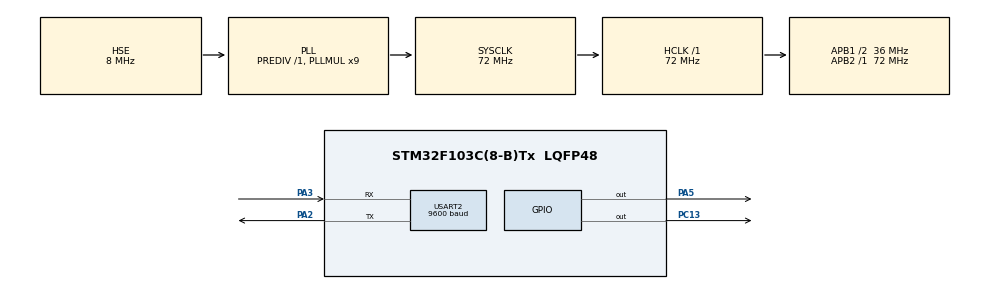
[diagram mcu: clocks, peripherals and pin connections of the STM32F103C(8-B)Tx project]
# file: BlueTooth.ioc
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Mcu.Family=STM32F1
Mcu.Name=STM32F103C(8-B)Tx
Mcu.Package=LQFP48
NVIC.PriorityGroup=NVIC_PRIORITYGROUP_4
NVIC.TIM2_IRQn=true\:0\:0\:false\:false\:true\:true\:true
NVIC.TIM4_IRQn=true\:0\:0\:false\:false\:true\:false\:true
NVIC.TimeBase=TIM4_IRQn
NVIC.TimeBaseIP=TIM4
NVIC.USART2_IRQn=true\:0\:0\:false\:false\:true\:true\:true
PA13.Mode=Trace_Asynchronous_SW
PA13.Signal=SYS_JTMS-SWDIO
PA14.Mode=Trace_Asynchronous_SW
PA14.Signal=SYS_JTCK-SWCLK
PA2.Mode=Asynchronous
PA2.Signal=USART2_TX
PA3.Mode=Asynchronous
PA3.Signal=USART2_RX
PA5.GPIO_Speed=GPIO_SPEED_FREQ_MEDIUM
PA5.Signal=GPIO_Output
PB3.Mode=Trace_Asynchronous_SW
PB3.Signal=SYS_JTDO-TRACESWO
PC13-TAMPER-RTC.Signal=GPIO_Output
PD0-OSC_IN.Mode=HSE-External-Oscillator
PD0-OSC_IN.Signal=RCC_OSC_IN
PD1-OSC_OUT.Mode=HSE-External-Oscillator
PD1-OSC_OUT.Signal=RCC_OSC_OUT
ProjectManager.HeapSize=0x200
ProjectManager.StackSize=0x400
ProjectManager.TargetToolchain=STM32CubeIDE
RCC.AHBFreq_Value=72000000
RCC.APB1CLKDivider=RCC_HCLK_DIV2
RCC.APB1Freq_Value=36000000
RCC.APB1TimFreq_Value=72000000
RCC.APB2Freq_Value=72000000
RCC.APB2TimFreq_Value=72000000
RCC.HCLKFreq_Value=72000000
RCC.PLLMUL=RCC_PLL_MUL9
RCC.PLLSourceVirtual=RCC_PLLSOURCE_HSE
RCC.SYSCLKFreq_VALUE=72000000
RCC.SYSCLKSource=RCC_SYSCLKSOURCE_PLLCLK
RCC.USBFreq_Value=72000000
TIM2.Period=4000
TIM2.Prescaler=35999
TIM2.TIM_MasterOutputTrigger=TIM_TRGO_UPDATE
USART2.BaudRate=9600
USART2.VirtualMode=VM_ASYNC
VP_SYS_VS_tim4.Mode=TIM4
VP_TIM2_VS_ClockSourceINT.Mode=Internal
board=custom

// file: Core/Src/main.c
/* USER CODE BEGIN Header */
/**
 ******************************************************************************
 * @file           : main.c
 * @brief          : Main program body
 ******************************************************************************
 * @attention
 *
 * <h2><center>&copy; Copyright (c) 2021 STMicroelectronics.
 * All rights reserved.</center></h2>
 *
 * This software component is licensed by ST under BSD 3-Clause license,
 * the "License"; You may not use this file except in compliance with the
 * License. You may obtain a copy of the License at:
 *                        opensource.org/licenses/BSD-3-Clause
 *
 ******************************************************************************
 */
/* USER CODE END Header */
#include "main.h"

/* USER CODE BEGIN Includes */
#include <string.h> // Подключим библиотеку для работы со строками.
#include <stdio.h> /* для printf */
/* USER CODE END Includes */

TIM_HandleTypeDef htim2;

UART_HandleTypeDef huart2;

/* USER CODE BEGIN PV */
char str1[60] = { 0 };  // Создадим строковую переменную

typedef struct USART_prop { // Создадим структуру
	uint8_t usart_buf[60];
	uint8_t usart_cnt;
	uint8_t is_tcp_connect; //статус попытки создать соединение TCP с сервером
	uint8_t is_text; //статус попытки передать текст серверу
} USART_prop_ptr;
USART_prop_ptr usartprop;
//***Добавим гл. переменную для счётчика выводимых в модуль строк, и массив этих самых строк ***//
uint8_t i = 0;
char *str2[] = {
 "String1\r\n",
 "String2\r\n",
 "String3\r\n",
 "String4\r\n",
 "String5\r\n"
};
/* USER CODE END PV */

void SystemClock_Config(void);
static void MX_GPIO_Init(void);
static void MX_USART2_UART_Init(void);
static void MX_TIM2_Init(void);

/* USER CODE BEGIN 0 */
/*-----------------------------for prinf--------------------------------------*/
int _write(int file, uint8_t *ptr, int len) {
  for (int DataIdx = 0; DataIdx < len; DataIdx++) {
    ITM_SendChar(*ptr++);
  }
  return len;
}
/*---------Добавим гл. фун-ю которая передает в USAR все, что приходит!--------*/
void string_parse(char *buf_str) //
{
	HAL_UART_Transmit(&huart2, (uint8_t*) buf_str, strlen(buf_str), 0x1000);
	printf("Get message: %s \n",buf_str);
}
/*------------Теперь добавим гл-й обработчик приёма символа из USART---------------------------------------------*/
void UART2_RxCpltCallback(void) // тут подробно https://youtu.be/S4P-lAa4iFQ?t=547
{
	uint8_t b; // Можно не создавать эту переменную!
	b = str1[0];// Принимаем один байт и записываем в переменную "b".
	//если вдруг случайно превысим длину буфера
	if (usartprop.usart_cnt > 59) {
		usartprop.usart_cnt = 0; // то, обнуляем счетчик
		HAL_UART_Receive_IT(&huart2, (uint8_t*) str1, 1); // И снова даем команду получать данные из UART.
		return; // Выход из функции.
	}
	usartprop.usart_buf[usartprop.usart_cnt] = b; // Если не превышена длинна буфера то присваевыем данный байт к буферу UART.
	if (b == 0x0A) { // Если встретился символ перевода строки то, считаем, что строка закончилась и передаем ее на обработку.
		usartprop.usart_buf[usartprop.usart_cnt + 1] = 0; // В конец строки передаем "ноль" тем самым обозначим конец строки.
		string_parse((char*) usartprop.usart_buf); // передаем троку в "string_parse"
		usartprop.usart_cnt = 0; // Обнуляем счетчик
		HAL_UART_Receive_IT(&huart2, (uint8_t*) str1, 1); // И снова запускаем UART на прием.
		return;
	}
	usartprop.usart_cnt++; // Если не получили символ перевода строки то, наращиваем счетчик и продолжаем получать строки.
	HAL_UART_Receive_IT(&huart2, (uint8_t*) str1, 1); // Снова команда на примем байта.
}
/* USER CODE END 0 */

int main(void) {

	/* MCU Configuration--------------------------------------------------------*/

	/* Reset of all peripherals, Initializes the Flash interface and the Systick. */
	HAL_Init();

	/* Configure the system clock */
	SystemClock_Config();

	/* Initialize all configured peripherals */
	MX_GPIO_Init();
	MX_USART2_UART_Init();
	MX_TIM2_Init();
	/* USER CODE BEGIN 2 */
	//************* Инициируем приём данных в USART, а также запустим наш таймер ***************//
	HAL_UART_Receive_IT(&huart2, (uint8_t*) str1, 1);
	HAL_TIM_Base_Start_IT(&htim2);
	/* USER CODE END 2 */

	/* Infinite loop */
	while (1) {
//************* Отпавляем данные на телефон ***************//
		HAL_GPIO_TogglePin(GPIOC, GPIO_PIN_13); // Морагаем светодиодом
		HAL_UART_Transmit(&huart2, (uint8_t*) str2[i], strlen(str2[i]), 0x1000);
		i++;
		if (i > 4) {
			i = 0;
		}
		HAL_Delay(1000);
	}
}

void SystemClock_Config(void) {
	RCC_OscInitTypeDef RCC_OscInitStruct = { 0 };
	RCC_ClkInitTypeDef RCC_ClkInitStruct = { 0 };

	/** Initializes the RCC Oscillators according to the specified parameters
	 * in the RCC_OscInitTypeDef structure.
	 */
	RCC_OscInitStruct.OscillatorType = RCC_OSCILLATORTYPE_HSE;
	RCC_OscInitStruct.HSEState = RCC_HSE_ON;
	RCC_OscInitStruct.HSEPredivValue = RCC_HSE_PREDIV_DIV1;
	RCC_OscInitStruct.HSIState = RCC_HSI_ON;
	RCC_OscInitStruct.PLL.PLLState = RCC_PLL_ON;
	RCC_OscInitStruct.PLL.PLLSource = RCC_PLLSOURCE_HSE;
	RCC_OscInitStruct.PLL.PLLMUL = RCC_PLL_MUL9;
	if (HAL_RCC_OscConfig(&RCC_OscInitStruct) != HAL_OK) {
		Error_Handler();
	}
	/** Initializes the CPU, AHB and APB buses clocks
	 */
	RCC_ClkInitStruct.ClockType = RCC_CLOCKTYPE_HCLK | RCC_CLOCKTYPE_SYSCLK
			| RCC_CLOCKTYPE_PCLK1 | RCC_CLOCKTYPE_PCLK2;
	RCC_ClkInitStruct.SYSCLKSource = RCC_SYSCLKSOURCE_PLLCLK;
	RCC_ClkInitStruct.AHBCLKDivider = RCC_SYSCLK_DIV1;
	RCC_ClkInitStruct.APB1CLKDivider = RCC_HCLK_DIV2;
	RCC_ClkInitStruct.APB2CLKDivider = RCC_HCLK_DIV1;

	if (HAL_RCC_ClockConfig(&RCC_ClkInitStruct, FLASH_LATENCY_2) != HAL_OK) {
		Error_Handler();
	}
}

static void MX_TIM2_Init(void) {

	TIM_ClockConfigTypeDef sClockSourceConfig = { 0 };
	TIM_MasterConfigTypeDef sMasterConfig = { 0 };

	htim2.Instance = TIM2;
	htim2.Init.Prescaler = 35999;
	htim2.Init.CounterMode = TIM_COUNTERMODE_UP;
	htim2.Init.Period = 4000;
	htim2.Init.ClockDivision = TIM_CLOCKDIVISION_DIV1;
	htim2.Init.AutoReloadPreload = TIM_AUTORELOAD_PRELOAD_DISABLE;
	if (HAL_TIM_Base_Init(&htim2) != HAL_OK) {
		Error_Handler();
	}
	sClockSourceConfig.ClockSource = TIM_CLOCKSOURCE_INTERNAL;
	if (HAL_TIM_ConfigClockSource(&htim2, &sClockSourceConfig) != HAL_OK) {
		Error_Handler();
	}
	sMasterConfig.MasterOutputTrigger = TIM_TRGO_UPDATE;
	sMasterConfig.MasterSlaveMode = TIM_MASTERSLAVEMODE_DISABLE;
	if (HAL_TIMEx_MasterConfigSynchronization(&htim2, &sMasterConfig)
			!= HAL_OK) {
		Error_Handler();
	}

}

static void MX_USART2_UART_Init(void) {

	huart2.Instance = USART2;
	huart2.Init.BaudRate = 9600;
	huart2.Init.WordLength = UART_WORDLENGTH_8B;
	huart2.Init.StopBits = UART_STOPBITS_1;
	huart2.Init.Parity = UART_PARITY_NONE;
	huart2.Init.Mode = UART_MODE_TX_RX;
	huart2.Init.HwFlowCtl = UART_HWCONTROL_NONE;
	huart2.Init.OverSampling = UART_OVERSAMPLING_16;
	if (HAL_UART_Init(&huart2) != HAL_OK) {
		Error_Handler();
	}

}

static void MX_GPIO_Init(void) {
	GPIO_InitTypeDef GPIO_InitStruct = { 0 };

	/* GPIO Ports Clock Enable */
	__HAL_RCC_GPIOC_CLK_ENABLE();
	__HAL_RCC_GPIOD_CLK_ENABLE();
	__HAL_RCC_GPIOA_CLK_ENABLE();
	__HAL_RCC_GPIOB_CLK_ENABLE();

	/*Configure GPIO pin Output Level */
	HAL_GPIO_WritePin(GPIOC, GPIO_PIN_13, GPIO_PIN_RESET);

	/*Configure GPIO pin Output Level */
	HAL_GPIO_WritePin(GPIOA, GPIO_PIN_5, GPIO_PIN_RESET);

	/*Configure GPIO pin : PC13 */
	GPIO_InitStruct.Pin = GPIO_PIN_13;
	GPIO_InitStruct.Mode = GPIO_MODE_OUTPUT_PP;
	GPIO_InitStruct.Pull = GPIO_NOPULL;
	GPIO_InitStruct.Speed = GPIO_SPEED_FREQ_LOW;
	HAL_GPIO_Init(GPIOC, &GPIO_InitStruct);

	/*Configure GPIO pin : PA5 */
	GPIO_InitStruct.Pin = GPIO_PIN_5;
	GPIO_InitStruct.Mode = GPIO_MODE_OUTPUT_PP;
	GPIO_InitStruct.Pull = GPIO_NOPULL;
	GPIO_InitStruct.Speed = GPIO_SPEED_FREQ_MEDIUM;
	HAL_GPIO_Init(GPIOA, &GPIO_InitStruct);

}

/* USER CODE BEGIN 4 */
/***Добавим оф. обработчик приёма из USART, в котором вызовем наш "самодельный" обработчик***/
void HAL_UART_RxCpltCallback(UART_HandleTypeDef *huart) {
	if (huart == &huart2) { // Проверка, точно ли данные со 2-го UART?
		UART2_RxCpltCallback(); // Вызов обработчика.
	}
}
/* USER CODE END 4 */

void HAL_TIM_PeriodElapsedCallback(TIM_HandleTypeDef *htim) {
	if (htim->Instance == TIM4) {
		HAL_IncTick();
	}
	/* USER CODE BEGIN Callback 1 */
	/*  //------------обработчик события от таймера, который строки из массива будут отправлять в смартфон-----------------------------------
	 HAL_GPIO_TogglePin(GPIOC, GPIO_PIN_13);
	 HAL_UART_Transmit(&huart2,(uint8_t*)str2[i],strlen(str2[i]),0x1000);
	 i++;
	 if(i>4)
	 {
	 i=0;
	 }
	 */
	/* USER CODE END Callback 1 */
}

void Error_Handler(void) {
	__disable_irq();
	while (1) {
	}
}

/************************ (C) COPYRIGHT STMicroelectronics *****END OF FILE****/
